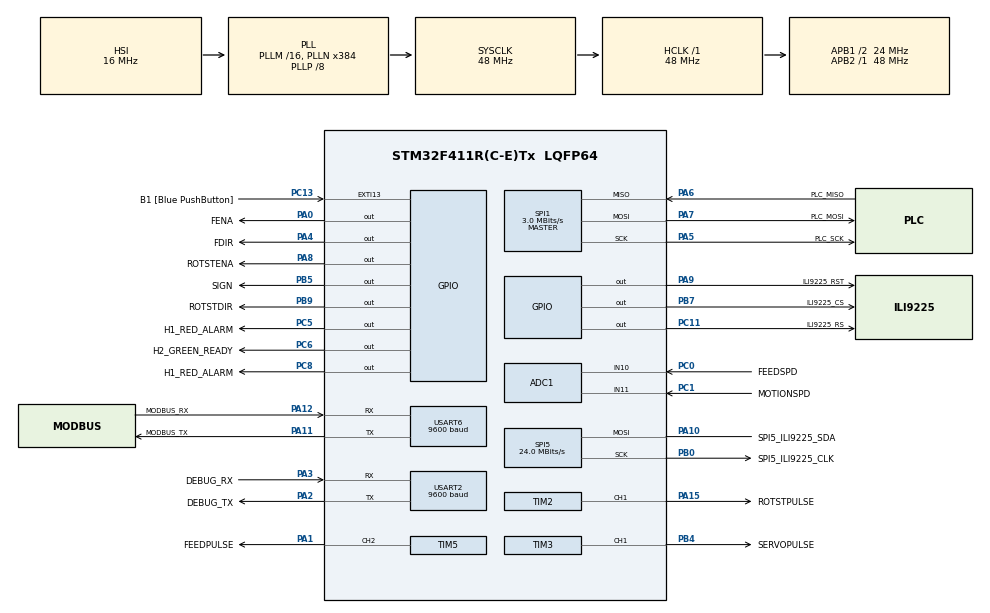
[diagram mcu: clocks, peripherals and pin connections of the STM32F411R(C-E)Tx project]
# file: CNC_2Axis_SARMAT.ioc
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Mcu.Family=STM32F4
VP_TIM5_VS_ClockSourceINT.Mode=Internal
PA6.Mode=Full_Duplex_Master
RCC.CortexFreq_Value=48000000
SPI1.VirtualType=VM_MASTER
VP_ADC1_TempSens_Input.Mode=IN-TempSens
ADC1.ContinuousConvMode=DISABLE
PA14.GPIO_Label=TCK
SH.S_TIM5_CH2.0=TIM5_CH2,PWM Generation2 CH2
PC0.GPIO_Label=FEEDSPD
PC6.GPIO_Label=H2_GREEN_READY
PA11.Mode=Asynchronous
PA6.GPIO_Label=PLC_MISO
PB0.GPIO_Label=SPI5_ILI9225_CLK
RCC.SYSCLKSource=RCC_SYSCLKSOURCE_PLLCLK
ProjectManager.StackSize=0x400
PA15.GPIO_Label=ROTSTPULSE
PA12.Signal=USART6_RX
TIM1.Prescaler=48000
Mcu.UserConstants=MINFEED,1300000
PH0\ -\ OSC_IN.Signal=RCC_OSC_IN
NVIC.TIM5_IRQn=true\:0\:0\:false\:false\:true\:true\:true
ADC1.Channel-3\#ChannelRegularConversion=ADC_CHANNEL_11
SPI1.Direction=SPI_DIRECTION_2LINES
RCC.HCLKFreq_Value=48000000
RCC.APB2TimFreq_Value=48000000
TIM3.Period=65535
VP_TIM10_VS_ClockSourceINT.Mode=Enable_Timer
Dma.ADC1.0.Direction=DMA_PERIPH_TO_MEMORY
SPI1.CalculateBaudRate=3.0 MBits/s
NVIC.DMA2_Stream0_IRQn=true\:0\:0\:false\:false\:true\:false\:true
Dma.ADC1.0.MemDataAlignment=DMA_MDATAALIGN_WORD
RCC.AHBFreq_Value=48000000
TIM3.Channel-PWM\ Generation1\ CH1=TIM_CHANNEL_1
NVIC.EXTI15_10_IRQn=true\:0\:0\:false\:false\:true\:true\:true
ADC1.Channel-0\#ChannelRegularConversion=ADC_CHANNEL_10
TIM10.AutoReloadPreload=TIM_AUTORELOAD_PRELOAD_ENABLE
RCC.HSE_VALUE=8000000
PC13-ANTI_TAMP.Signal=GPXTI13
TIM10.Channel=TIM_CHANNEL_1
ADC1.SamplingTime-4\#ChannelRegularConversion=ADC_SAMPLETIME_480CYCLES
PC14-OSC32_IN.Mode=LSE-External-Oscillator
PA14.Mode=Serial_Wire
TIM3.Prescaler=1
Dma.ADC1.0.PeriphInc=DMA_PINC_DISABLE
PC11.GPIO_Label=ILI9225_RS
SPI1.DataSize=SPI_DATASIZE_16BIT
PA10.GPIO_Label=SPI5_ILI9225_SDA
PB7.Signal=GPIO_Output
PA8.Signal=GPIO_Output
TIM2.Channel-PWM\ Generation1\ CH1=TIM_CHANNEL_1
SH.S_TIM3_CH1.0=TIM3_CH1,PWM Generation1 CH1
VP_TIM1_VS_ClockSourceINT.Mode=Internal
ADC1.SamplingTime-0\#ChannelRegularConversion=ADC_SAMPLETIME_480CYCLES
RCC.FLatency-AdvancedSettings=FLASH_LATENCY_1
PB7.GPIO_Label=ILI9225_CS
Mcu.Package=LQFP64
PB9.Signal=GPIO_Output
TIM2.Prescaler=1
PA6.Signal=SPI1_MISO
USART2.VirtualMode=VM_ASYNC
USART6.VirtualMode=VM_ASYNC
PA2.GPIO_Label=DEBUG_TX
PA10.Signal=SPI5_MOSI
PA15.Signal=S_TIM2_CH1_ETR
USART6.BaudRate=9600
SPI5.CalculateBaudRate=24.0 MBits/s
PB5.GPIO_Label=SIGN
RCC.APB1TimFreq_Value=48000000
Dma.ADC1.0.FIFOMode=DMA_FIFOMODE_DISABLE
PC5.Signal=GPIO_Output
TIM1.Period=500
Dma.Request0=ADC1
SPI1.BaudRatePrescaler=SPI_BAUDRATEPRESCALER_16
PA4.GPIO_Label=FDIR
ADC1.EOCSelection=ADC_EOC_SINGLE_CONV
SPI5.VirtualType=VM_MASTER
VP_TIM3_VS_ClockSourceINT.Mode=Internal
ADC1.Rank-4\#ChannelRegularConversion=3
PB4.Signal=S_TIM3_CH1
PA3.Signal=USART2_RX
PA5.Mode=Full_Duplex_Master
TIM10.Prescaler=24
PC15-OSC32_OUT.Mode=LSE-External-Oscillator
TIM5.Pulse-PWM\ Generation2\ CH2=650000
Dma.ADC1.0.Instance=DMA2_Stream0
ADC1.Rank-0\#ChannelRegularConversion=1
PA7.Mode=Full_Duplex_Master
PB9.GPIO_Label=ROTSTDIR
ADC1.Channel-4\#ChannelRegularConversion=ADC_CHANNEL_TEMPSENSOR
PA10.Mode=Simplex_Bidirectional_Master
TIM3.AutoReloadPreload=TIM_AUTORELOAD_PRELOAD_ENABLE
PC13-ANTI_TAMP.GPIO_Label=B1 [Blue PushButton]
PA9.GPIO_Label=ILI9225_RST
PC11.Signal=GPIO_Output
PC8.Signal=GPIO_Output
PH1\ -\ OSC_OUT.Mode=HSE-External-Clock-Source
PC6.Signal=GPIO_Output
ADC1.DiscontinuousConvMode=DISABLE
PA11.GPIO_Label=MODBUS_TX
PC0.Signal=ADCx_IN10
RCC.APB1CLKDivider=RCC_HCLK_DIV2
PC14-OSC32_IN.Signal=RCC_OSC32_IN
VP_TIM10_VS_no_output1.Mode=Output Compare1 No Output
SPI5.Mode=SPI_MODE_MASTER
USART2.BaudRate=9600
PA12.GPIO_Label=MODBUS_RX
TIM5.AutoReloadPreload=TIM_AUTORELOAD_PRELOAD_ENABLE
PA0-WKUP.GPIO_Label=FENA
PA0-WKUP.Signal=GPIO_Output
TIM2.Pulse-PWM\ Generation1\ CH1=650000
NVIC.USART6_IRQn=true\:0\:0\:false\:false\:true\:true\:true
PC8.GPIO_Label=H1_RED_ALARM
PA3.Mode=Asynchronous
PA13.Signal=SYS_JTMS-SWDIO
Dma.ADC1.0.PeriphDataAlignment=DMA_PDATAALIGN_WORD
PH0\ -\ OSC_IN.Mode=HSE-External-Clock-Source
PA8.GPIO_Label=ROTSTENA
TIM3.Pulse-PWM\ Generation1\ CH1=32768
ProjectManager.TargetToolchain=MDK-ARM V5.27
Dma.ADC1.0.Mode=DMA_CIRCULAR
Dma.ADC1.0.Priority=DMA_PRIORITY_HIGH
PA9.Signal=GPIO_Output
PC15-OSC32_OUT.Signal=RCC_OSC32_OUT
PA1.Signal=S_TIM5_CH2
PA5.Signal=SPI1_SCK
PH1\ -\ OSC_OUT.Signal=RCC_OSC_OUT
PB0.Mode=Simplex_Bidirectional_Master
board=NUCLEO-F411RE
RCC.VCOOutputFreq_Value=384000000
NVIC.TIM3_IRQn=true\:0\:0\:false\:false\:true\:true\:true
TIM10.Period=10
RCC.APB2Freq_Value=48000000
SH.ADCx_IN11.0=ADC1_IN11,IN11
PB4.GPIO_Label=SERVOPULSE
TIM10.Pulse=5
SPI1.Mode=SPI_MODE_MASTER
PA1.GPIO_Label=FEEDPULSE
PC1.GPIO_Label=MOTIONSPD
ADC1.DMAContinuousRequests=ENABLE
TIM2.Period=1300000
ADC1.NbrOfConversion=3
PA13.Mode=Serial_Wire
Mcu.Name=STM32F411R(C-E)Tx
PA2.Signal=USART2_TX
PA13.GPIO_Label=TMS
RCC.48MHZClocksFreq_Value=96000000
TIM5.Channel-PWM\ Generation2\ CH2=TIM_CHANNEL_2
PA4.Signal=GPIO_Output
RCC.SYSCLKFreq_VALUE=48000000
PB5.Signal=GPIO_Output
PA7.GPIO_Label=PLC_MOSI
ADC1.master=1
PA12.Mode=Asynchronous
PA5.GPIO_Label=PLC_SCK
ADC1.Rank-3\#ChannelRegularConversion=2
ADC1.SamplingTime-3\#ChannelRegularConversion=ADC_SAMPLETIME_480CYCLES
TIM5.Prescaler=1
PC5.GPIO_Label=H1_RED_ALARM
PC13-ANTI_TAMP.GPIO_ModeDefaultEXTI=GPIO_MODE_IT_FALLING
PA11.Signal=USART6_TX
SH.S_TIM2_CH1_ETR.0=TIM2_CH1,PWM Generation1 CH1
PA14.Signal=SYS_JTCK-SWCLK
Dma.ADC1.0.MemInc=DMA_MINC_ENABLE
SH.ADCx_IN10.0=ADC1_IN10,IN10
ProjectManager.HeapSize=0x200
NVIC.TIM1_UP_TIM10_IRQn=true\:0\:0\:false\:false\:true\:true\:true
RCC.HSI_VALUE=16000000
RCC.PLLP=RCC_PLLP_DIV8
NVIC.PriorityGroup=NVIC_PRIORITYGROUP_0
ADC1.NbrOfConversionFlag=1
RCC.PLLN=384
PA2.Mode=Asynchronous
TIM2.AutoReloadPreload=TIM_AUTORELOAD_PRELOAD_ENABLE
TIM5.Period=1300000
RCC.APB1Freq_Value=24000000
PB0.Signal=SPI5_SCK
PC1.Signal=ADCx_IN11
SPI5.Direction=SPI_DIRECTION_1LINE
PA3.GPIO_Label=DEBUG_RX
PA7.Signal=SPI1_MOSI

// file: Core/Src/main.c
/* USER CODE BEGIN Header */
/**
  ******************************************************************************
  * @file           : main.c
  * @brief          : Main program body
  ******************************************************************************
  * @attention
  *
  * <h2><center>&copy; Copyright (c) 2019 STMicroelectronics.
  * All rights reserved.</center></h2>
  *
  * This software component is licensed by ST under BSD 3-Clause license,
  * the "License"; You may not use this file except in compliance with the
  * License. You may obtain a copy of the License at:
  *                        opensource.org/licenses/BSD-3-Clause
  *
  ******************************************************************************
  */
/* USER CODE END Header */
#include "main.h"
#include "adc.h"
#include "dma.h"
#include "spi.h"
#include "tim.h"
#include "usart.h"
#include "gpio.h"

/* USER CODE BEGIN Includes */
#include "x_nucleo_plc01a1.h"
//#include "rnk.h"

/* USER CODE END Includes */

/* USER CODE BEGIN PV */
extern void setup(void);
/* USER CODE END PV */

void SystemClock_Config(void);

/* USER CODE BEGIN 0 */
static uint8_t INPUT_READ_FLAG = 1;//Flag for reading input channel status
static uint8_t ChannelsOn = 0x00;//Number of channels in on state
static uint16_t WD_Reset = 0;//Watchdog count (in ms)
static uint8_t Tick_10 = 0;//10ms count
static uint8_t* Input_Data;//Input channels state
static uint8_t oData = 0;
static uint8_t* Relay_Status;//Output relay status
static uint8_t* Current_Limiter_Status;//Input current limiter status
static uint32_t FreezeTime = 1000;//Time in ms for which outpus to be freezed

uint8_t tx_buffer[50];
uint8_t rx_buffer[50];

#ifdef OUTPUT_CYCLING
/* The frequency range of Output_cycling is expressed in Hz */
static uint16_t OC_Frequency = 50;
/* 10% duty cycle to 90% duty cycle (%) */
static uint8_t OC_Duty = 50;
#endif /* OUTPUT_CYCLING */

/* Private function prototypes -----------------------------------------------*/
static void initializePlc(void);
void PLC_Handler(void);
uint8_t* CURRENT_LIMITER_Handler(void);
void RELAY_Handler(uint8_t*);

/* USER CODE END 0 */

int main(void)
{

  /* MCU Configuration--------------------------------------------------------*/

  /* Reset of all peripherals, Initializes the Flash interface and the Systick. */
  HAL_Init();

  /* Configure the system clock */
  SystemClock_Config();

  /* Initialize all configured peripherals */
  MX_GPIO_Init();
  MX_DMA_Init();
  MX_SPI1_Init();
  MX_TIM5_Init();
  MX_TIM3_Init();
  MX_ADC1_Init();
  MX_USART6_UART_Init();
  MX_TIM1_Init();
  MX_TIM10_Init();
  MX_SPI5_Init();
  MX_USART2_UART_Init();
  MX_TIM2_Init();
  /* USER CODE BEGIN 2 */
//	SEND_DATA(DEBUG, (uint8_t*)"STARTING STATION- PIONER 2\r\n", 28 );
//	SEND_DATA(DEBUG, (uint8_t*)"DRIVERS LOADING... \r\n", 21 );
	HAL_Delay(20);

	/* Initialization PLC Driver*/
	initializePlc();

  /* Reset relay at startup to avoid FAULT */
  BSP_RELAY_Reset();
//	SEND_DATA(DEBUG, (uint8_t*)"RELAY RESESTING....... \r\n", 24 );

//
  /* wait for 100 ms at startup */
  HAL_Delay(200);

  /* Enable Relay Outputs */
  BSP_RELAY_EN_Out();
//	SEND_DATA(DEBUG, (uint8_t*)"RESET OUTPUTS...........\r\n", 25 );
	HAL_Delay(20);

	/* PIONEER-2 INITIALIZATION.....*/
//	SEND_DATA(DEBUG, (uint8_t*)"PIONEER-2 INITIALIZATION..............\r\n", 40 );

//	GO_MOTION(RIG, 500);

//	HAL_GPIO_WritePin(H1_RED_ALARM_GPIO_Port, H1_RED_ALARM_Pin, GPIO_PIN_SET);
//
//	HAL_GPIO_WritePin(H2_GREEN_READY_GPIO_Port, H2_GREEN_READY_Pin, GPIO_PIN_RESET);

	setup();

  /* USER CODE END 2 */

  /* Infinite loop */
  while (1)
  {

    /* USER CODE BEGIN 3 */

    //PLC_Handler();

//		}
  }
  /* USER CODE END 3 */
}

void SystemClock_Config(void)
{
  RCC_OscInitTypeDef RCC_OscInitStruct = {0};
  RCC_ClkInitTypeDef RCC_ClkInitStruct = {0};

  /** Configure the main internal regulator output voltage
  */
  __HAL_RCC_PWR_CLK_ENABLE();
  __HAL_PWR_VOLTAGESCALING_CONFIG(PWR_REGULATOR_VOLTAGE_SCALE1);
  /** Initializes the RCC Oscillators according to the specified parameters
  * in the RCC_OscInitTypeDef structure.
  */
  RCC_OscInitStruct.OscillatorType = RCC_OSCILLATORTYPE_HSI;
  RCC_OscInitStruct.HSIState = RCC_HSI_ON;
  RCC_OscInitStruct.HSICalibrationValue = RCC_HSICALIBRATION_DEFAULT;
  RCC_OscInitStruct.PLL.PLLState = RCC_PLL_ON;
  RCC_OscInitStruct.PLL.PLLSource = RCC_PLLSOURCE_HSI;
  RCC_OscInitStruct.PLL.PLLM = 16;
  RCC_OscInitStruct.PLL.PLLN = 384;
  RCC_OscInitStruct.PLL.PLLP = RCC_PLLP_DIV8;
  RCC_OscInitStruct.PLL.PLLQ = 4;
  if (HAL_RCC_OscConfig(&RCC_OscInitStruct) != HAL_OK)
  {
    Error_Handler();
  }
  /** Initializes the CPU, AHB and APB buses clocks
  */
  RCC_ClkInitStruct.ClockType = RCC_CLOCKTYPE_HCLK|RCC_CLOCKTYPE_SYSCLK
                              |RCC_CLOCKTYPE_PCLK1|RCC_CLOCKTYPE_PCLK2;
  RCC_ClkInitStruct.SYSCLKSource = RCC_SYSCLKSOURCE_PLLCLK;
  RCC_ClkInitStruct.AHBCLKDivider = RCC_SYSCLK_DIV1;
  RCC_ClkInitStruct.APB1CLKDivider = RCC_HCLK_DIV2;
  RCC_ClkInitStruct.APB2CLKDivider = RCC_HCLK_DIV1;

  if (HAL_RCC_ClockConfig(&RCC_ClkInitStruct, FLASH_LATENCY_1) != HAL_OK)
  {
    Error_Handler();
  }
}

/* USER CODE BEGIN 4 */
static void initializePlc(void)
{
  /* Initialize Relay and Current Limiter */
  BSP_Relay_Init();
  BSP_CurrentLimiter_Init();
}

void PLC_Handler(void)
{
  if (INPUT_READ_FLAG)
  {
    INPUT_READ_FLAG = 0;

#ifdef OUTPUT_CYCLING
    /* Reset & set CS1 to refresh VNI watchdog */
    HAL_GPIO_WritePin(GPIOC, GPIO_PIN_7, GPIO_PIN_RESET);
    HAL_GPIO_WritePin(GPIOC, GPIO_PIN_7, GPIO_PIN_SET);
#else
    /* Handler for input current limiter */
    Input_Data = CURRENT_LIMITER_Handler();

    /* Handler for output relay */
    RELAY_Handler(f);
#endif /* OUTPUT_CYCLING */
  }
}

uint8_t* CURRENT_LIMITER_Handler(void)
{
  static uint8_t* clData = NULL;

  clData = BSP_CURRENT_LIMITER_Read();

  Current_Limiter_Status = clData;

  if (BSP_GetCurrentLimiterStatus(Current_Limiter_Status) != CURRENT_LIMITER_OK)
  {
    /* Set input error code here */
  }

  return (clData+1);
}

void RELAY_Handler(uint8_t* iData)
{
  /* Uncomment the relevant function as required */

  /* Set Output same as input */
  oData = BSP_Signal_Mirror(*iData);
  /* Freeze selected outputs for a given time */
//  oData = BSP_Output_Freeze(*iData,0xFF,&FreezeTime);
  /* Regroup outputs */
//  oData = BSP_Output_Regroup(0xFF);
  /* Get the sum of input channels that are high */
//  ChannelsOn = BSP_Inputs_Sum(*iData); oData = 0x00;
  /* Set Outputs same as the required states */
//  oData = BSP_Output_ON(0xFF);
  /* Set Outputs same as required states */
//  oData = BSP_Output_OFF(0xFF);
  /* Set Outputs state according to the inputs state AND with required logic  */
//  oData = BSP_Inputs_AND(*iData,0x0F);
  /* Set Outputs state according to the inputs state OR with required logic */
//  oData = BSP_Inputs_OR(*iData,0x0F);
  /* Set Outputs state according to the inputs state NOT */
//  oData = BSP_Inputs_NOT(*iData);
  /* Set Outputs state according to the inputs state XOR */
//  oData = BSP_Inputs_XOR(*iData,0x00);

  Relay_Status = BSP_RELAY_SetOutputs(&oData);

  if (BSP_GetRelayStatus(Relay_Status) != RELAY_OK)
  {
    /* Set output error code here */
  }
}

void HAL_SYSTICK_Callback(void)
{
  if (WD_Reset <= 100)
  {
		WD_Reset++;

	}
  else
  {
    Tick_10++;
    if (Tick_10 == 10)
    {
      Tick_10 = 0;
      INPUT_READ_FLAG = 1;
    }
  }

  if (FreezeTime != 0)
    FreezeTime--;
}
/* USER CODE END 4 */

void Error_Handler(void)
{
}

/************************ (C) COPYRIGHT STMicroelectronics *****END OF FILE****/
